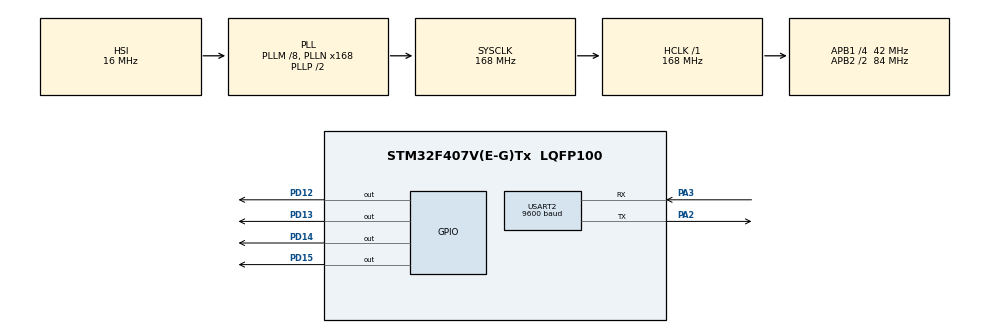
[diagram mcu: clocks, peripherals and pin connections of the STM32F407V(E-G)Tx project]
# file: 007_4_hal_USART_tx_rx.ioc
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Mcu.Family=STM32F4
Mcu.Name=STM32F407V(E-G)Tx
Mcu.Package=LQFP100
NVIC.PriorityGroup=NVIC_PRIORITYGROUP_4
PA2.Mode=Asynchronous
PA2.Signal=USART2_TX
PA3.Mode=Asynchronous
PA3.Signal=USART2_RX
PD12.Signal=GPIO_Output
PD13.Signal=GPIO_Output
PD14.Signal=GPIO_Output
PD15.Signal=GPIO_Output
ProjectManager.HeapSize=0x200
ProjectManager.StackSize=0x400
ProjectManager.TargetToolchain=STM32CubeIDE
RCC.48MHZClocksFreq_Value=84000000
RCC.AHBFreq_Value=168000000
RCC.APB1CLKDivider=RCC_HCLK_DIV4
RCC.APB1Freq_Value=42000000
RCC.APB1TimFreq_Value=84000000
RCC.APB2CLKDivider=RCC_HCLK_DIV2
RCC.APB2Freq_Value=84000000
RCC.APB2TimFreq_Value=168000000
RCC.CortexFreq_Value=168000000
RCC.HCLKFreq_Value=168000000
RCC.HSE_VALUE=25000000
RCC.HSI_VALUE=16000000
RCC.LSE_VALUE=32768
RCC.PLLM=8
RCC.PLLN=168
RCC.SYSCLKFreq_VALUE=168000000
RCC.SYSCLKSource=RCC_SYSCLKSOURCE_PLLCLK
RCC.VCOOutputFreq_Value=336000000
USART2.BaudRate=9600
USART2.VirtualMode=VM_ASYNC
board=custom

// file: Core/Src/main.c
/* USER CODE BEGIN Header */
/**
  ******************************************************************************
  * @file           : main.c
  * @brief          : Main program body
  ******************************************************************************
  * @attention
  *
  * Copyright (c) 2023 STMicroelectronics.
  * All rights reserved.
  *
  * This software is licensed under terms that can be found in the LICENSE file
  * in the root directory of this software component.
  * If no LICENSE file comes with this software, it is provided AS-IS.
  *
  ******************************************************************************
  */
/* USER CODE END Header */
#include "main.h"

/* USER CODE BEGIN Includes */
#include "stdio.h"

/* USER CODE END Includes */

UART_HandleTypeDef huart2;

/* USER CODE BEGIN PV */

char tx_buffer[50];
char rx_buffer[50];

/* USER CODE END PV */

void SystemClock_Config(void);
static void MX_GPIO_Init(void);
static void MX_USART2_UART_Init(void);

int main(void)
{

  /* MCU Configuration--------------------------------------------------------*/

  /* Reset of all peripherals, Initializes the Flash interface and the Systick. */
  HAL_Init();

  /* Configure the system clock */
  SystemClock_Config();

  /* Initialize all configured peripherals */
  MX_GPIO_Init();
  MX_USART2_UART_Init();

  /* Infinite loop */
  /* USER CODE BEGIN WHILE */
  HAL_UART_Transmit(&huart2, (uint8_t*)tx_buffer, sprintf(tx_buffer, "Yakmak istediginiz ledi yaziniz: \n"), 100);

  while (1)
  {
    /* USER CODE END WHILE */

    /* USER CODE BEGIN 3 */
	  HAL_UART_Receive(&huart2, (uint8_t*)rx_buffer, 50, 100);

	  // led_12
	  if(rx_buffer[0] == 'l' && rx_buffer[1] == 'e' && rx_buffer[2] == 'd' && rx_buffer[3] == '1' &&
		 rx_buffer[4] == ' ' && rx_buffer[5] == 'o' && rx_buffer[6] == 'n')
	  {
		  HAL_GPIO_WritePin(GPIOD, GPIO_PIN_12, GPIO_PIN_SET);
	  }
	  else if(rx_buffer[0] == 'l' && rx_buffer[1] == 'e' && rx_buffer[2] == 'd' && rx_buffer[3] == '1' &&
			  rx_buffer[4] == ' ' && rx_buffer[5] == 'o' && rx_buffer[6] == 'f' && rx_buffer[7] == 'f')
	  {
		  HAL_GPIO_WritePin(GPIOD, GPIO_PIN_12, GPIO_PIN_RESET);
	  }

	  // led_13
	  if(rx_buffer[0] == 'l' && rx_buffer[1] == 'e' && rx_buffer[2] == 'd' && rx_buffer[3] == '2' &&
		 rx_buffer[4] == ' ' && rx_buffer[5] == 'o' && rx_buffer[6] == 'n')
	  {
		  HAL_GPIO_WritePin(GPIOD, GPIO_PIN_13, GPIO_PIN_SET);
	  }
	  else if(rx_buffer[0] == 'l' && rx_buffer[1] == 'e' && rx_buffer[2] == 'd' && rx_buffer[3] == '2' &&
			  rx_buffer[4] == ' ' && rx_buffer[5] == 'o' && rx_buffer[6] == 'f' && rx_buffer[7] == 'f')
	  {
		  HAL_GPIO_WritePin(GPIOD, GPIO_PIN_13, GPIO_PIN_RESET);
	  }

	  // led_14
	  if(rx_buffer[0] == 'l' && rx_buffer[1] == 'e' && rx_buffer[2] == 'd' && rx_buffer[3] == '3' &&
		 rx_buffer[4] == ' ' && rx_buffer[5] == 'o' && rx_buffer[6] == 'n')
	  {
		  HAL_GPIO_WritePin(GPIOD, GPIO_PIN_14, GPIO_PIN_SET);
	  }
	  else if(rx_buffer[0] == 'l' && rx_buffer[1] == 'e' && rx_buffer[2] == 'd' && rx_buffer[3] == '3' &&
			  rx_buffer[4] == ' ' && rx_buffer[5] == 'o' && rx_buffer[6] == 'f' && rx_buffer[7] == 'f')
	  {
		  HAL_GPIO_WritePin(GPIOD, GPIO_PIN_14, GPIO_PIN_RESET);
	  }

	  // led_15
	  if(rx_buffer[0] == 'l' && rx_buffer[1] == 'e' && rx_buffer[2] == 'd' && rx_buffer[3] == '4' &&
		 rx_buffer[4] == ' ' && rx_buffer[5] == 'o' && rx_buffer[6] == 'n')
	  {
		  HAL_GPIO_WritePin(GPIOD, GPIO_PIN_15, GPIO_PIN_SET);
	  }
	  else if(rx_buffer[0] == 'l' && rx_buffer[1] == 'e' && rx_buffer[2] == 'd' && rx_buffer[3] == '4' &&
			  rx_buffer[4] == ' ' && rx_buffer[5] == 'o' && rx_buffer[6] == 'f' && rx_buffer[7] == 'f')
	  {
		  HAL_GPIO_WritePin(GPIOD, GPIO_PIN_15, GPIO_PIN_RESET);
	  }
  }
  /* USER CODE END 3 */
}

void SystemClock_Config(void)
{
  RCC_OscInitTypeDef RCC_OscInitStruct = {0};
  RCC_ClkInitTypeDef RCC_ClkInitStruct = {0};

  /** Configure the main internal regulator output voltage
  */
  __HAL_RCC_PWR_CLK_ENABLE();
  __HAL_PWR_VOLTAGESCALING_CONFIG(PWR_REGULATOR_VOLTAGE_SCALE1);

  /** Initializes the RCC Oscillators according to the specified parameters
  * in the RCC_OscInitTypeDef structure.
  */
  RCC_OscInitStruct.OscillatorType = RCC_OSCILLATORTYPE_HSI;
  RCC_OscInitStruct.HSIState = RCC_HSI_ON;
  RCC_OscInitStruct.HSICalibrationValue = RCC_HSICALIBRATION_DEFAULT;
  RCC_OscInitStruct.PLL.PLLState = RCC_PLL_ON;
  RCC_OscInitStruct.PLL.PLLSource = RCC_PLLSOURCE_HSI;
  RCC_OscInitStruct.PLL.PLLM = 8;
  RCC_OscInitStruct.PLL.PLLN = 168;
  RCC_OscInitStruct.PLL.PLLP = RCC_PLLP_DIV2;
  RCC_OscInitStruct.PLL.PLLQ = 4;
  if (HAL_RCC_OscConfig(&RCC_OscInitStruct) != HAL_OK)
  {
    Error_Handler();
  }

  /** Initializes the CPU, AHB and APB buses clocks
  */
  RCC_ClkInitStruct.ClockType = RCC_CLOCKTYPE_HCLK|RCC_CLOCKTYPE_SYSCLK
                              |RCC_CLOCKTYPE_PCLK1|RCC_CLOCKTYPE_PCLK2;
  RCC_ClkInitStruct.SYSCLKSource = RCC_SYSCLKSOURCE_PLLCLK;
  RCC_ClkInitStruct.AHBCLKDivider = RCC_SYSCLK_DIV1;
  RCC_ClkInitStruct.APB1CLKDivider = RCC_HCLK_DIV4;
  RCC_ClkInitStruct.APB2CLKDivider = RCC_HCLK_DIV2;

  if (HAL_RCC_ClockConfig(&RCC_ClkInitStruct, FLASH_LATENCY_5) != HAL_OK)
  {
    Error_Handler();
  }
}

static void MX_USART2_UART_Init(void)
{

  huart2.Instance = USART2;
  huart2.Init.BaudRate = 9600;
  huart2.Init.WordLength = UART_WORDLENGTH_8B;
  huart2.Init.StopBits = UART_STOPBITS_1;
  huart2.Init.Parity = UART_PARITY_NONE;
  huart2.Init.Mode = UART_MODE_TX_RX;
  huart2.Init.HwFlowCtl = UART_HWCONTROL_NONE;
  huart2.Init.OverSampling = UART_OVERSAMPLING_16;
  if (HAL_UART_Init(&huart2) != HAL_OK)
  {
    Error_Handler();
  }

}

static void MX_GPIO_Init(void)
{
  GPIO_InitTypeDef GPIO_InitStruct = {0};

  /* GPIO Ports Clock Enable */
  __HAL_RCC_GPIOA_CLK_ENABLE();
  __HAL_RCC_GPIOD_CLK_ENABLE();

  /*Configure GPIO pin Output Level */
  HAL_GPIO_WritePin(GPIOD, GPIO_PIN_12|GPIO_PIN_13|GPIO_PIN_14|GPIO_PIN_15, GPIO_PIN_RESET);

  /*Configure GPIO pins : PD12 PD13 PD14 PD15 */
  GPIO_InitStruct.Pin = GPIO_PIN_12|GPIO_PIN_13|GPIO_PIN_14|GPIO_PIN_15;
  GPIO_InitStruct.Mode = GPIO_MODE_OUTPUT_PP;
  GPIO_InitStruct.Pull = GPIO_NOPULL;
  GPIO_InitStruct.Speed = GPIO_SPEED_FREQ_LOW;
  HAL_GPIO_Init(GPIOD, &GPIO_InitStruct);

}

void Error_Handler(void)
{
  __disable_irq();
  while (1)
  {
  }
}
